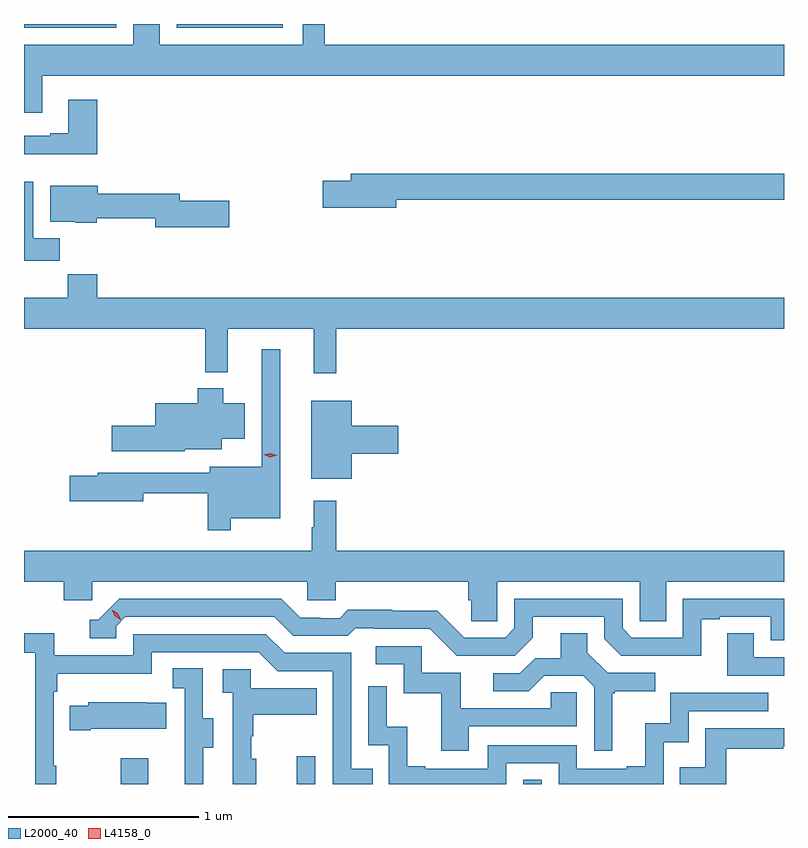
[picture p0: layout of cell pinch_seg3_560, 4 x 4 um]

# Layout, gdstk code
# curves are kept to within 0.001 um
import gdstk
lib = gdstk.Library(unit=1e-6, precision=1e-09)
def R(c, l, rs):  # rectangles x0, y0, x1, y1
    for r in rs: c.add(gdstk.rectangle(r[:2], r[2:], *l))
def P(c, l, *ps):  # polygons
    for p in ps: c.add(gdstk.Polygon(p, *l))
L2000_40 = (2000, 40)
L4158_0 = (4158, 0)

pinch_seg3_560 = lib.new_cell('pinch_seg3_560')
R(pinch_seg3_560, L2000_40, [(1091.566,686.532,1091.713,686.668), (1092.494,686.532,1092.591,686.677), (1093.686,686.532,1093.782,686.555), (1091.058,690.513,1091.544,690.532), (1091.862,690.513,1092.42,690.532)])
P(pinch_seg3_560, L2000_40, [(1091.155,690.26),(1095.058,690.26),(1095.058,690.424),(1092.641,690.424),(1092.641,690.532),(1092.525,690.532),(1092.525,690.424),(1091.773,690.424),(1091.773,690.532),(1091.634,690.532),(1091.634,690.424),(1091.058,690.424),(1091.058,690.066),(1091.155,690.066)],
  [(1091.444,690.133),(1091.291,690.133),(1091.291,689.956),(1091.195,689.956),(1091.195,689.943),(1091.058,689.943),(1091.058,689.846),(1091.444,689.846)],
  [(1093.018,689.608),(1095.058,689.608),(1095.058,689.744),(1092.779,689.744),(1092.779,689.708),(1092.63,689.708),(1092.63,689.566),(1093.018,689.566)],
  [(1091.246,689.404),(1091.107,689.404),(1091.107,689.701),(1091.058,689.701),(1091.058,689.286),(1091.246,689.286)],
  [(1092.139,689.603),(1091.878,689.603),(1091.878,689.639),(1091.446,689.639),(1091.446,689.68),(1091.195,689.68),(1091.195,689.492),(1091.328,689.492),(1091.328,689.486),(1091.442,689.486),(1091.442,689.51),(1091.75,689.51),(1091.75,689.461),(1092.139,689.461)],
  [(1092.701,688.928),(1095.058,688.928),(1095.058,689.092),(1091.444,689.092),(1091.444,689.216),(1091.287,689.216),(1091.287,689.092),(1091.058,689.092),(1091.058,688.928),(1092.013,688.928),(1092.013,688.7),(1092.131,688.7),(1092.131,688.928),(1092.584,688.928),(1092.584,688.695),(1092.701,688.695)],
  [(1092.145,687.932),(1092.406,687.932),(1092.406,688.819),(1092.309,688.819),(1092.309,688.201),(1092.035,688.201),(1092.035,688.17),(1091.447,688.17),(1091.447,688.154),(1091.298,688.154),(1091.298,688.019),(1091.686,688.019),(1091.686,688.062),(1092.024,688.062),(1092.024,687.867),(1092.145,687.867)],
  [(1091.904,688.295),(1092.1,688.295),(1092.1,688.349),(1092.22,688.349),(1092.22,688.537),(1092.106,688.537),(1092.106,688.615),(1091.972,688.615),(1091.972,688.537),(1091.75,688.537),(1091.75,688.418),(1091.52,688.418),(1091.52,688.283),(1091.904,688.283)],
  [(1092.784,688.271),(1093.027,688.271),(1093.027,688.418),(1092.784,688.418),(1092.784,688.549),(1092.569,688.549),(1092.569,688.139),(1092.784,688.139)],
  [(1093.548,687.596),(1094.298,687.596),(1094.298,687.388),(1094.437,687.388),(1094.437,687.596),(1095.058,687.596),(1095.058,687.76),(1092.701,687.76),(1092.701,688.024),(1092.584,688.024),(1092.584,687.884),(1092.573,687.884),(1092.573,687.76),(1091.058,687.76),(1091.058,687.596),(1091.267,687.596),(1091.267,687.498),(1091.418,687.498),(1091.418,687.596),(1092.549,687.596),(1092.549,687.498),(1092.699,687.498),(1092.699,687.596),(1093.397,687.596),(1093.397,687.498),(1093.411,687.498),(1093.411,687.388),(1093.548,687.388)],
  [(1094.623,687.399),(1094.719,687.399),(1094.719,687.411),(1094.988,687.411),(1094.988,687.288),(1095.058,687.288),(1095.058,687.507),(1094.526,687.507),(1094.526,687.303),(1094.256,687.303),(1094.208,687.351),(1094.208,687.507),(1093.638,687.507),(1093.638,687.351),(1093.59,687.303),(1093.374,687.303),(1093.232,687.445),(1092.996,687.445),(1092.996,687.448),(1092.763,687.448),(1092.721,687.405),(1092.618,687.405),(1092.618,687.408),(1092.511,687.408),(1092.412,687.507),(1091.559,687.507),(1091.448,687.396),(1091.405,687.396),(1091.405,687.3),(1091.544,687.3),(1091.544,687.363),(1091.592,687.411),(1092.375,687.411),(1092.474,687.312),(1092.763,687.312),(1092.802,687.351),(1092.901,687.351),(1092.901,687.348),(1093.194,687.348),(1093.335,687.207),(1093.641,687.207),(1093.735,687.301),(1093.735,687.411),(1094.112,687.411),(1094.112,687.297),(1094.202,687.207),(1094.623,687.206)],
  [(1095.058,687.198),(1094.899,687.198),(1094.899,687.326),(1094.759,687.326),(1094.759,687.102),(1095.058,687.102)],
  [(1091.227,686.629),(1091.214,686.629),(1091.214,687.017),(1091.234,687.017),(1091.234,687.113),(1091.73,687.113),(1091.73,687.225),(1092.294,687.225),(1092.393,687.126),(1092.684,687.126),(1092.684,686.532),(1092.893,686.532),(1092.893,686.613),(1092.78,686.613),(1092.78,687.222),(1092.43,687.222),(1092.331,687.321),(1091.634,687.321),(1091.634,687.21),(1091.216,687.21),(1091.216,687.326),(1091.058,687.326),(1091.058,687.224),(1091.118,687.224),(1091.118,686.532),(1091.227,686.532)],
  [(1094.155,687.009),(1094.167,687.009),(1094.167,687.02),(1094.38,687.02),(1094.38,687.117),(1094.13,687.117),(1094.023,687.224),(1094.023,687.326),(1093.883,687.326),(1093.883,687.194),(1093.748,687.194),(1093.668,687.114),(1093.527,687.114),(1093.527,687.021),(1093.714,687.021),(1093.795,687.102),(1094.001,687.102),(1094.058,687.045),(1094.058,686.706),(1094.155,686.706)],
  [(1093.399,686.835),(1093.968,686.835),(1093.968,687.015),(1093.831,687.015),(1093.831,686.931),(1093.357,686.931),(1093.357,687.117),(1093.152,687.117),(1093.152,687.258),(1092.909,687.258),(1092.909,687.162),(1093.056,687.162),(1093.056,687.009),(1093.255,687.009),(1093.255,686.706),(1093.399,686.706)],
  [(1092.001,686.722),(1092.055,686.722),(1092.055,686.877),(1092,686.877),(1092,687.14),(1091.841,687.14),(1091.841,687.037),(1091.904,687.037),(1091.904,686.733),(1091.903,686.733),(1091.903,686.532),(1092.001,686.532)],
  [(1092.28,686.664),(1092.255,686.664),(1092.255,686.783),(1092.265,686.783),(1092.265,686.897),(1092.599,686.897),(1092.599,687.037),(1092.252,687.037),(1092.252,687.135),(1092.105,687.135),(1092.105,687.011),(1092.156,687.011),(1092.156,686.532),(1092.28,686.532)],
  [(1093.596,686.64),(1093.872,686.64),(1093.872,686.532),(1094.424,686.532),(1094.424,686.753),(1094.556,686.753),(1094.556,686.916),(1094.975,686.916),(1094.975,687.012),(1094.46,687.012),(1094.46,686.851),(1094.327,686.851),(1094.327,686.626),(1094.231,686.626),(1094.231,686.613),(1093.968,686.613),(1093.968,686.736),(1093.5,686.736),(1093.5,686.613),(1093.171,686.613),(1093.171,686.626),(1093.076,686.626),(1093.076,686.834),(1092.966,686.834),(1092.966,687.046),(1092.87,687.046),(1092.87,686.736),(1092.978,686.736),(1092.978,686.532),(1093.596,686.532)],
  [(1091.41,686.822),(1091.807,686.822),(1091.807,686.959),(1091.699,686.959),(1091.699,686.962),(1091.397,686.962),(1091.397,686.944),(1091.299,686.944),(1091.299,686.815),(1091.41,686.815)],
  [(1094.755,686.718),(1095.053,686.718),(1095.053,686.729),(1095.058,686.729),(1095.058,686.826),(1094.644,686.826),(1094.644,686.62),(1094.509,686.62),(1094.509,686.532),(1094.755,686.532)])
P(pinch_seg3_560, L4158_0, [(1092.354,688.253),(1092.32,688.265),(1092.319,688.265),(1092.32,688.266),(1092.355,688.273),(1092.39,688.262),(1092.39,688.261),(1092.39,688.261)],
  [(1091.568,687.396),(1091.537,687.416),(1091.521,687.449),(1091.521,687.449),(1091.521,687.449),(1091.552,687.43),(1091.568,687.397),(1091.568,687.396)])

lib.write_gds('pinch_seg3_560.gds')
